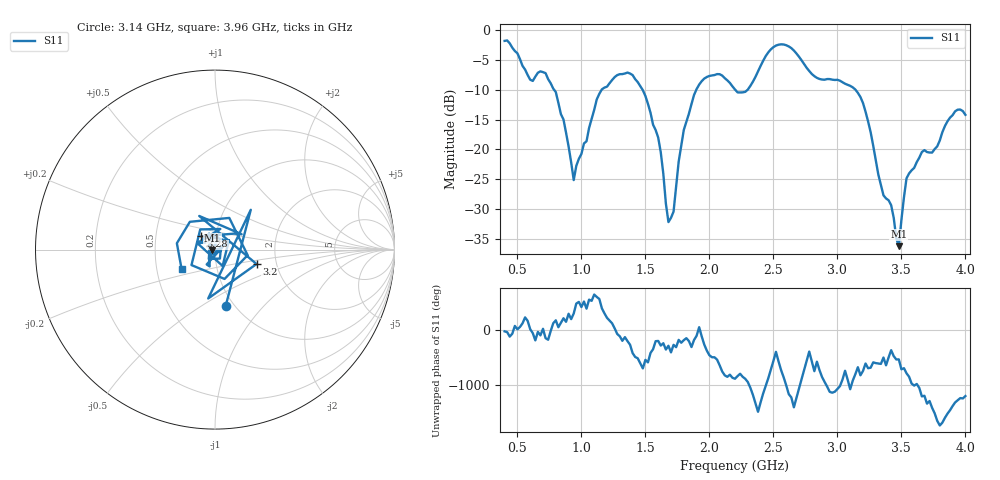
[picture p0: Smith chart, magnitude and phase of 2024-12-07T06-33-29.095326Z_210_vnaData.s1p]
!Created with skrf (http://scikit-rf.org).
# Hz S RI R 50.0
!freq ReS11 ImS11
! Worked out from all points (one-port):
!   181 points, 400 MHz to 4 GHz, reference 50 ohm
!   lowest |S11| = -36.3 dB at 3.48 GHz (marker M1), VSWR 1.03, Z = 48.5 - j0.247 ohm
!   |S11| at or under -10 dB: 787.1 MHz to 1.158 GHz (370.7 MHz wide, 38.1 % of centre); 1.478 GHz to 1.898 GHz (419.3 MHz wide, 24.8 % of centre); 3.142 GHz to end of sweep (the widest 3 of 4)
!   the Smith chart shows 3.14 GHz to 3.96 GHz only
!   S11 on the Smith chart (normalised r, x): 3.14 GHz: 0.92, -0.64; 3.2 GHz: 1.57, -0.27; 3.28 GHz: 0.85, +0.13; 3.96 GHz: 0.67, -0.15
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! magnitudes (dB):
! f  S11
! 400 MHz  -1.8
! 600 MHz  -8.3
! 720 MHz  -7.2
! 860 MHz  -15.0
! 940 MHz  -25.2
! 1.12 GHz  -11.6
! 1.3 GHz  -7.4
! 1.5 GHz  -11.0
! 1.6 GHz  -18.0
! 1.68 GHz  -32.2
! 1.72 GHz  -30.5
! 1.76 GHz  -22.1
! 1.8 GHz  -16.7
! 1.94 GHz  -8.5
! 2.2 GHz  -9.9
! 2.3 GHz  -10.0
! 2.5 GHz  -2.8
! 2.66 GHz  -3.4
! 2.84 GHz  -8.0
! 3.1 GHz  -9.3
! 3.14 GHz  -9.9
! 3.2 GHz  -12.2
! 3.28 GHz  -19.4
! 3.48 GHz  -36.3
! 3.54 GHz  -24.9
! 3.56 GHz  -24.1
! 3.96 GHz  -13.3
! 4 GHz  -14.2
